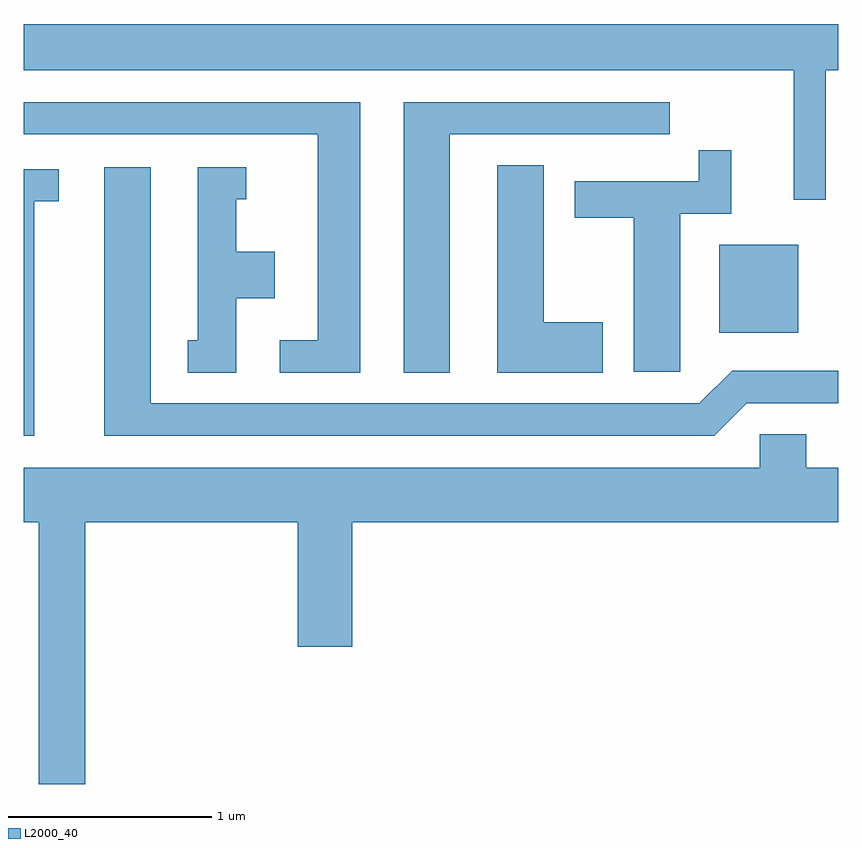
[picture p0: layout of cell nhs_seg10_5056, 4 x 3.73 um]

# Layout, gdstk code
import gdstk
lib = gdstk.Library(unit=1e-6, precision=1e-09)
def R(c, l, rs):  # rectangles x0, y0, x1, y1
    for r in rs: c.add(gdstk.rectangle(r[:2], r[2:], *l))
def P(c, l, *ps):  # polygons
    for p in ps: c.add(gdstk.Polygon(p, *l))
L2000_40 = (2000, 40)

nhs_seg10_5056 = lib.new_cell('nhs_seg10_5056')
R(nhs_seg10_5056, L2000_40, [(337.026,2177.006,337.414,2177.439)])
P(nhs_seg10_5056, L2000_40, [(337.549,2178.296),(337.611,2178.296),(337.611,2178.522),(333.611,2178.522),(333.611,2178.296),(337.391,2178.296),(337.391,2177.658),(337.549,2177.658)],
  [(335.264,2178.139),(333.611,2178.139),(333.611,2177.981),(335.056,2177.981),(335.056,2176.969),(334.868,2176.969),(334.868,2176.811),(335.264,2176.811)],
  [(335.704,2177.981),(336.783,2177.981),(336.783,2178.139),(335.476,2178.139),(335.476,2176.811),(335.704,2176.811)],
  [(336.834,2177.591),(337.084,2177.591),(337.084,2177.903),(336.926,2177.903),(336.926,2177.749),(336.316,2177.749),(336.316,2177.571),(336.606,2177.571),(336.606,2176.816),(336.834,2176.816)],
  [(336.454,2177.059),(336.164,2177.059),(336.164,2177.829),(335.936,2177.829),(335.936,2176.811),(336.454,2176.811)],
  [(337.162,2176.661),(337.611,2176.661),(337.611,2176.819),(337.089,2176.819),(336.929,2176.659),(334.234,2176.659),(334.234,2177.819),(334.006,2177.819),(334.006,2176.501),(337.002,2176.501)],
  [(334.654,2177.176),(334.844,2177.176),(334.844,2177.404),(334.654,2177.404),(334.654,2177.661),(334.703,2177.661),(334.703,2177.819),(334.466,2177.819),(334.466,2176.969),(334.418,2176.969),(334.418,2176.811),(334.654,2176.811)],
  [(333.664,2177.651),(333.783,2177.651),(333.783,2177.809),(333.611,2177.809),(333.611,2176.501),(333.664,2176.501)],
  [(333.914,2176.076),(334.956,2176.076),(334.956,2175.466),(335.224,2175.466),(335.224,2176.076),(337.611,2176.076),(337.611,2176.344),(337.454,2176.344),(337.454,2176.509),(337.226,2176.509),(337.226,2176.344),(333.611,2176.344),(333.611,2176.076),(333.686,2176.076),(333.686,2174.791),(333.914,2174.791)])

lib.write_gds('nhs_seg10_5056.gds')
